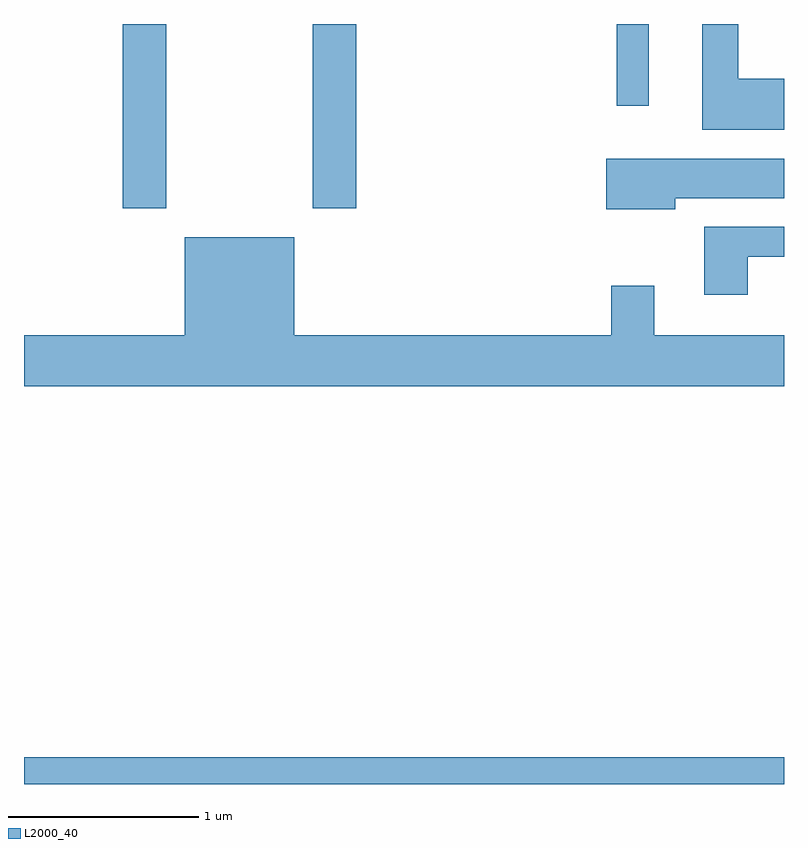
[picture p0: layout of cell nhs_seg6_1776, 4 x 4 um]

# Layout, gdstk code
import gdstk
lib = gdstk.Library(unit=1e-6, precision=1e-09)
def R(c, l, rs):  # rectangles x0, y0, x1, y1
    for r in rs: c.add(gdstk.rectangle(r[:2], r[2:], *l))
def P(c, l, *ps):  # polygons
    for p in ps: c.add(gdstk.Polygon(p, *l))
L2000_40 = (2000, 40)

nhs_seg6_1776 = lib.new_cell('nhs_seg6_1776')
R(nhs_seg6_1776, L2000_40, [(239.611,1550.162,243.611,1550.304), (240.131,1553.191,240.359,1554.162), (241.131,1553.191,241.359,1554.162), (242.731,1553.733,242.899,1554.162)])
P(nhs_seg6_1776, L2000_40, [(243.611,1553.874),(243.369,1553.874),(243.369,1554.162),(243.181,1554.162),(243.181,1553.606),(243.611,1553.606)],
  [(243.039,1553.246),(243.611,1553.246),(243.611,1553.454),(242.676,1553.454),(242.676,1553.186),(243.039,1553.186)],
  [(243.419,1552.936),(243.611,1552.936),(243.611,1553.094),(243.191,1553.094),(243.191,1552.736),(243.419,1552.736)],
  [(243.611,1552.524),(242.929,1552.524),(242.929,1552.784),(242.701,1552.784),(242.701,1552.524),(241.034,1552.524),(241.034,1553.039),(240.456,1553.039),(240.456,1552.524),(239.611,1552.524),(239.611,1552.256),(243.611,1552.256)])

lib.write_gds('nhs_seg6_1776.gds')
